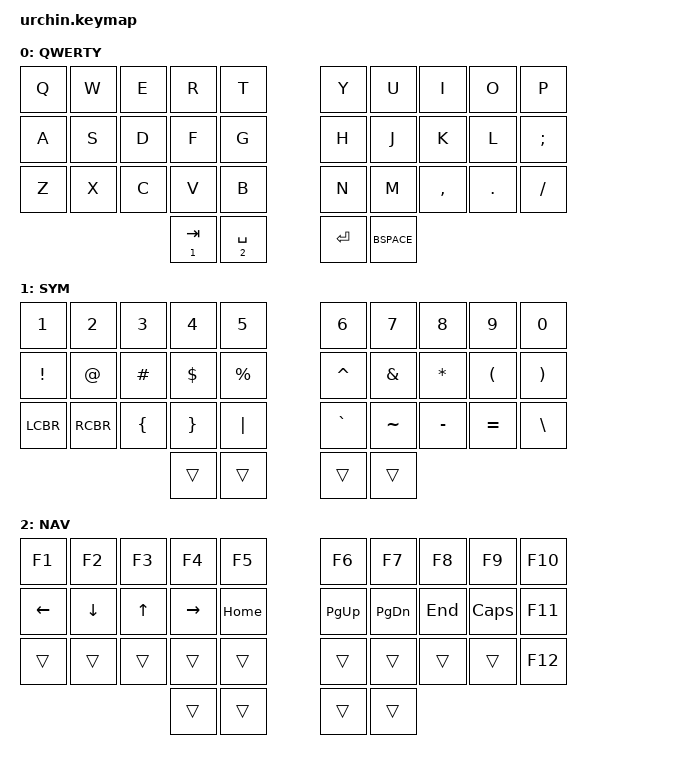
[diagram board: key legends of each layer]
#include <behaviors.dtsi>
#include <dt-bindings/zmk/keys.h>
#include <dt-bindings/zmk/bt.h>
#include <dt-bindings/zmk/outputs.h>

&mt {
	flavor = "tap-preferred";
	tapping_term_ms = <200>;
	quick_tap_ms = <75>;
};

/ {
	macros {
	};
	
	combos {
		compatible = "zmk,combos";
	};
	
	keymap {
		compatible = "zmk,keymap";
		
		default_layer { /* BASE QWERTY */
			label = "QWERTY";
			bindings = <
			&kp Q    &kp W    &kp E		&kp R    	&kp T                      &kp Y    &kp U    &kp I    &kp O    &kp P
			&kp A    &kp S    &kp D   	&kp F    	&kp G                      &kp H    &kp J    &kp K    &kp L    &kp SEMI
			&kp Z    &kp X    &kp C 	&kp V    	&kp B                      &kp N    &kp M    &kp COMMA &kp DOT  &kp FSLH
			&mt 1 TAB  &mt 2 SPACE                &kp RET  &kp BSPACE
			>;
		};
		
		layer_1 { /* NUMBERS & SYMBOLS */
			label = "SYM";
			bindings = <
			&kp N1   &kp N2   &kp N3   &kp N4   &kp N5                     &kp N6   &kp N7   &kp N8   &kp N9   &kp N0
			&kp EXCL &kp AT   &kp HASH &kp DLLR &kp PRCNT                  &kp CARET &kp AMPS &kp STAR &kp LPAR &kp RPAR
			&kp LCBR &kp RCBR &kp LBRC &kp RBRC &kp PIPE                   &kp GRAVE &kp TILDE &kp MINUS &kp EQUAL &kp BSLH
			&trans   &trans                     &trans   &trans
			>;
		};
		
		layer_2 { /* NAVIGATION & FUNCTION */
			label = "NAV";
			bindings = <
			&kp F1   &kp F2   &kp F3   &kp F4   &kp F5                     	&kp F6   &kp F7   &kp F8   &kp F9   &kp F10
			&kp LEFT &kp DOWN &kp UP   &kp RIGHT &kp HOME                 	&kp PG_UP &kp PG_DN &kp END  &kp CAPS &kp F11
			&trans   &trans   &trans   &trans   &trans                     	&trans   &trans   &trans   &trans   &kp F12
			&trans   &trans                     &trans   &trans
			>;
		};
	};
};
